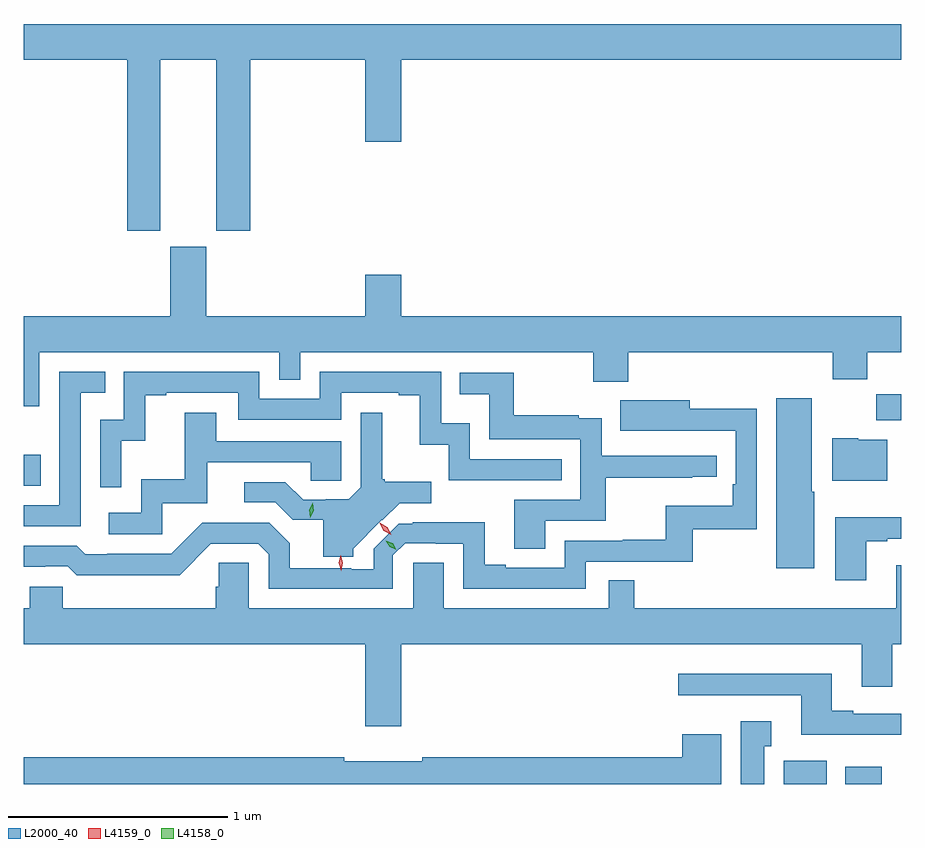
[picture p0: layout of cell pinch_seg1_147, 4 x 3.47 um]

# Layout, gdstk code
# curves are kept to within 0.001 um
import gdstk
lib = gdstk.Library(unit=1e-6, precision=1e-09)
def R(c, l, rs):  # rectangles x0, y0, x1, y1
    for r in rs: c.add(gdstk.rectangle(r[:2], r[2:], *l))
def P(c, l, *ps):  # polygons
    for p in ps: c.add(gdstk.Polygon(p, *l))
L2000_40 = (2000, 40)
L4158_0 = (4158, 0)
L4159_0 = (4159, 0)

pinch_seg1_147 = lib.new_cell('pinch_seg1_147')
R(pinch_seg1_147, L2000_40, [(1089.992,553.758,1090.189,553.864), (1090.274,553.758,1090.441,553.837), (1086.528,555.119,1086.605,555.259), (1090.414,555.416,1090.528,555.535)])
P(pinch_seg1_147, L2000_40, [(1087.15,557.06),(1087.406,557.06),(1087.406,556.281),(1087.559,556.281),(1087.559,557.06),(1088.084,557.06),(1088.084,556.686),(1088.248,556.686),(1088.248,557.06),(1090.528,557.06),(1090.528,557.224),(1086.528,557.224),(1086.528,557.06),(1086.998,557.06),(1086.998,556.281),(1087.15,556.281)],
  [(1086.597,555.728),(1087.692,555.728),(1087.692,555.601),(1087.788,555.601),(1087.788,555.728),(1089.124,555.728),(1089.124,555.593),(1089.284,555.593),(1089.284,555.728),(1090.217,555.728),(1090.217,555.604),(1090.373,555.604),(1090.373,555.728),(1090.528,555.728),(1090.528,555.892),(1088.248,555.892),(1088.248,556.081),(1088.084,556.081),(1088.084,555.892),(1087.36,555.892),(1087.36,556.209),(1087.196,556.209),(1087.196,555.892),(1086.528,555.892),(1086.528,555.48),(1086.597,555.48)],
  [(1086.972,555.323),(1087.082,555.323),(1087.082,555.531),(1087.177,555.531),(1087.177,555.543),(1087.506,555.543),(1087.506,555.42),(1087.974,555.42),(1087.974,555.543),(1088.237,555.543),(1088.237,555.531),(1088.333,555.531),(1088.333,555.305),(1088.466,555.305),(1088.466,555.144),(1088.981,555.144),(1088.981,555.24),(1088.562,555.24),(1088.562,555.403),(1088.43,555.403),(1088.43,555.639),(1087.878,555.639),(1087.878,555.516),(1087.602,555.516),(1087.602,555.639),(1086.984,555.639),(1086.984,555.42),(1086.876,555.42),(1086.876,555.111),(1086.972,555.111)],
  [(1086.786,555.543),(1086.899,555.543),(1086.899,555.639),(1086.69,555.639),(1086.69,555.03),(1086.528,555.03),(1086.528,554.934),(1086.786,554.934)],
  [(1088.905,554.958),(1089.182,554.958),(1089.182,555.154),(1089.575,555.154),(1089.575,555.159),(1089.688,555.159),(1089.688,555.255),(1089.162,555.255),(1089.162,555.427),(1089.059,555.427),(1089.059,555.439),(1088.761,555.439),(1088.761,555.633),(1088.515,555.633),(1088.515,555.536),(1088.65,555.536),(1088.65,555.33),(1089.066,555.33),(1089.066,555.054),(1088.765,555.054),(1088.765,554.83),(1088.905,554.83)],
  [(1090.132,555.09),(1090.12,555.09),(1090.12,555.517),(1089.959,555.517),(1089.959,554.742),(1090.132,554.742)],
  [(1088.211,554.802),(1088.266,554.857),(1088.407,554.857),(1088.407,554.853),(1088.532,554.853),(1088.532,554.649),(1089.09,554.649),(1089.09,554.772),(1089.577,554.772),(1089.577,554.919),(1089.87,554.919),(1089.87,555.47),(1089.565,555.47),(1089.565,555.508),(1089.247,555.508),(1089.247,555.368),(1089.774,555.369),(1089.774,555.124),(1089.761,555.124),(1089.761,555.028),(1089.456,555.028),(1089.456,554.873),(1089.259,554.873),(1089.259,554.868),(1088.994,554.868),(1088.994,554.745),(1088.725,554.745),(1088.725,554.758),(1088.629,554.758),(1088.629,554.951),(1088.301,554.951),(1088.301,554.944),(1088.238,554.944),(1088.124,554.83),(1088.124,554.738),(1088.021,554.738),(1088.021,554.742),(1087.741,554.742),(1087.741,554.855),(1087.647,554.949),(1087.341,554.949),(1087.2,554.808),(1086.907,554.808),(1086.907,554.805),(1086.808,554.805),(1086.769,554.844),(1086.528,554.844),(1086.528,554.748),(1086.624,554.748),(1086.624,554.751),(1086.727,554.751),(1086.769,554.709),(1087.002,554.709),(1087.002,554.711),(1087.238,554.711),(1087.38,554.853),(1087.596,554.853),(1087.644,554.805),(1087.644,554.649),(1088.211,554.649)],
  [(1088.029,554.832),(1088.159,554.962),(1088.162,554.96),(1088.241,555.039),(1088.386,555.039),(1088.386,555.136),(1088.173,555.136),(1088.173,555.148),(1088.161,555.148),(1088.161,555.451),(1088.064,555.451),(1088.064,555.111),(1088.01,555.057),(1087.905,555.057),(1087.905,555.054),(1087.801,555.054),(1087.72,555.135),(1087.533,555.135),(1087.533,555.042),(1087.674,555.042),(1087.754,554.962),(1087.893,554.962),(1087.893,554.794),(1088.029,554.794)],
  [(1087.158,555.039),(1087.363,555.039),(1087.363,555.225),(1087.837,555.225),(1087.837,555.142),(1087.974,555.142),(1087.974,555.321),(1087.405,555.321),(1087.405,555.451),(1087.261,555.451),(1087.261,555.148),(1087.062,555.148),(1087.062,554.994),(1086.915,554.994),(1086.915,554.898),(1087.158,554.898)],
  [(1090.465,555.328),(1090.332,555.328),(1090.332,555.334),(1090.214,555.334),(1090.214,555.14),(1090.465,555.14)],
  [(1090.369,554.865),(1090.465,554.865),(1090.465,554.877),(1090.528,554.877),(1090.528,554.974),(1090.229,554.974),(1090.229,554.688),(1090.369,554.688)],
  [(1088.248,554.396),(1090.349,554.396),(1090.349,554.202),(1090.489,554.202),(1090.489,554.396),(1090.528,554.396),(1090.528,554.755),(1090.505,554.755),(1090.505,554.56),(1089.311,554.56),(1089.311,554.687),(1089.195,554.687),(1089.195,554.56),(1088.443,554.56),(1088.443,554.768),(1088.303,554.768),(1088.303,554.56),(1087.554,554.56),(1087.554,554.768),(1087.417,554.768),(1087.417,554.658),(1087.403,554.658),(1087.403,554.56),(1086.705,554.56),(1086.705,554.658),(1086.555,554.658),(1086.555,554.56),(1086.528,554.56),(1086.528,554.396),(1088.084,554.396),(1088.084,554.022),(1088.248,554.022)],
  [(1090.528,554.079),(1090.309,554.079),(1090.309,554.092),(1090.213,554.092),(1090.213,554.26),(1089.513,554.26),(1089.513,554.163),(1090.073,554.163),(1090.073,553.982),(1090.528,553.982)],
  [(1089.904,553.931),(1089.937,553.931),(1089.937,554.044),(1089.797,554.044),(1089.797,553.758),(1089.904,553.758)],
  [(1089.709,553.984),(1089.53,553.984),(1089.53,553.88),(1088.344,553.88),(1088.344,553.861),(1087.988,553.861),(1087.988,553.88),(1086.528,553.88),(1086.528,553.758),(1089.709,553.758)])
P(pinch_seg1_147, L4158_0, [(1087.834,554.972),(1087.834,554.972),(1087.829,555.008),(1087.844,555.041),(1087.844,555.041),(1087.845,555.041),(1087.849,555.005),(1087.834,554.972)],
  [(1088.227,554.827),(1088.196,554.84),(1088.179,554.868),(1088.179,554.868),(1088.179,554.868),(1088.21,554.855),(1088.227,554.827),(1088.227,554.827)])
P(pinch_seg1_147, L4159_0, [(1088.203,554.894),(1088.169,554.914),(1088.15,554.948),(1088.15,554.949),(1088.15,554.949),(1088.184,554.928),(1088.204,554.894),(1088.204,554.894)],
  [(1087.974,554.73),(1087.974,554.73),(1087.963,554.766),(1087.972,554.802),(1087.972,554.802),(1087.972,554.802),(1087.983,554.766),(1087.974,554.73)])

lib.write_gds('pinch_seg1_147.gds')
